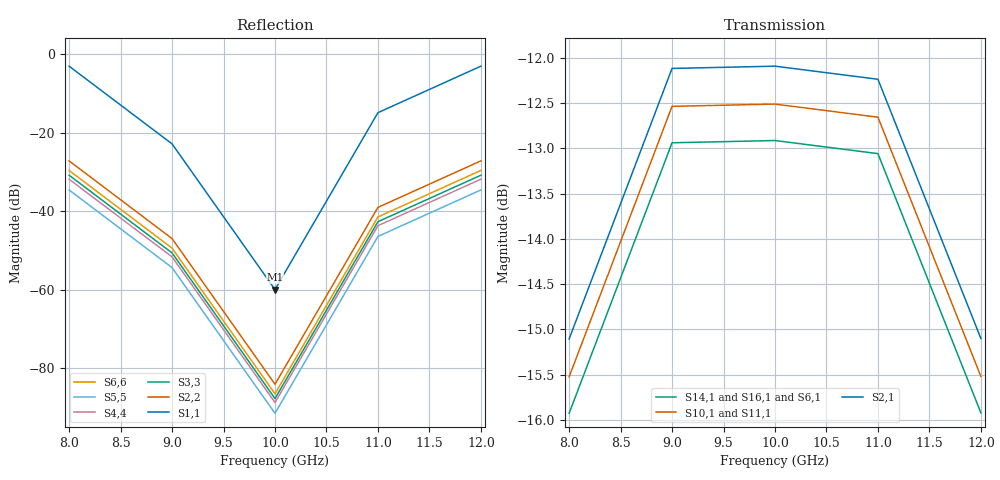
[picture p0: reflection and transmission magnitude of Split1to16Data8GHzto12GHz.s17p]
# GHz S MA R 50
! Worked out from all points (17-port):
!   5 points, 8 GHz to 12 GHz, reference 50 ohm
!   strongest paths, dB at 8 GHz, 9 GHz, 10 GHz, 11 GHz, 12 GHz:
!     S2,1: -15.1, -12.1, -12.1, -12.2, -15.1
!     S10,1: -15.5, -12.5, -12.5, -12.7, -15.5
!     S11,1: -15.6, -12.6, -12.6, -12.7, -15.6
!     S14,1: -15.9, -12.9, -12.9, -13.1, -15.9
!     S16,1: -16.0, -13.0, -13.0, -13.1, -16.0
!     S6,1: -16.3, -13.3, -13.3, -13.5, -16.3
!   lowest |S11| = -60.0 dB at 10 GHz (marker M1), VSWR 1.00, Z = 50 - j0.0975 ohm
!   |S11| at or under -10 dB: 8.352 GHz to 11.41 GHz (3.06 GHz wide, 31 % of centre)
